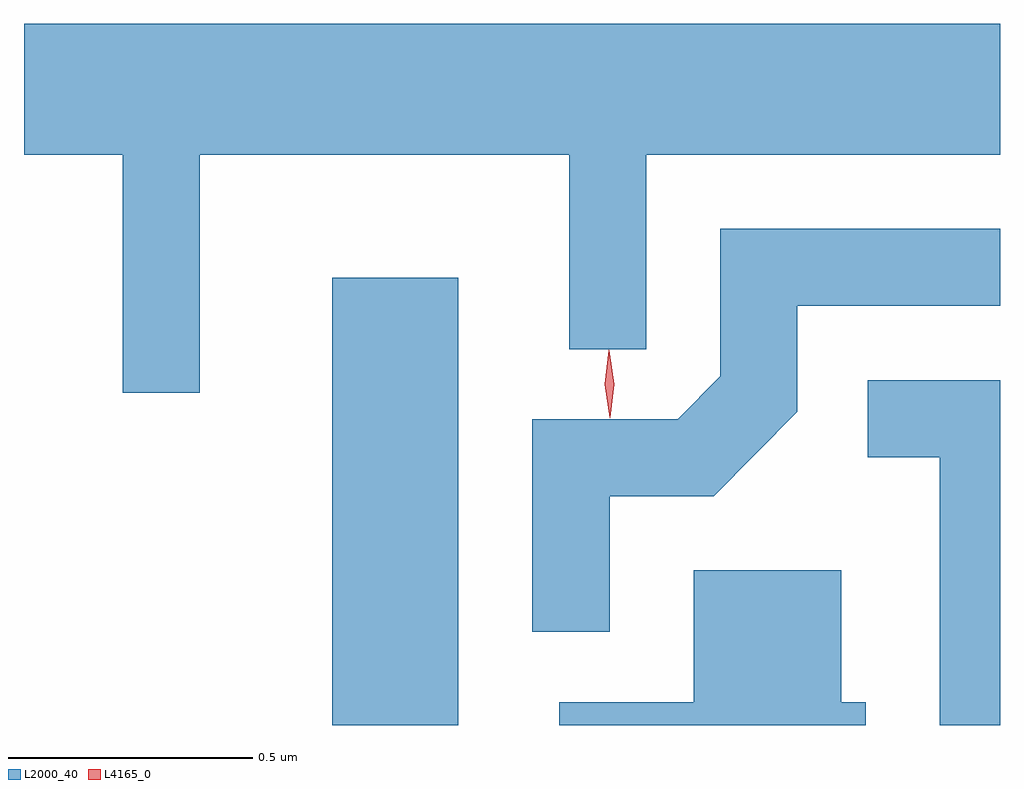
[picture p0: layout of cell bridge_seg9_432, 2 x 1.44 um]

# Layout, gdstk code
import gdstk
lib = gdstk.Library(unit=1e-6, precision=1e-09)
def R(c, l, rs):  # rectangles x0, y0, x1, y1
    for r in rs: c.add(gdstk.rectangle(r[:2], r[2:], *l))
def P(c, l, *ps):  # polygons
    for p in ps: c.add(gdstk.Polygon(p, *l))
L2000_40 = (2000, 40)
L4165_0 = (4165, 0)

bridge_seg9_432 = lib.new_cell('bridge_seg9_432')
R(bridge_seg9_432, L2000_40, [(527.516,2048.367,527.774,2049.284)])
P(bridge_seg9_432, L2000_40, [(527.244,2049.536),(528.001,2049.536),(528.001,2049.137),(528.159,2049.137),(528.159,2049.536),(528.884,2049.536),(528.884,2049.804),(526.884,2049.804),(526.884,2049.536),(527.086,2049.536),(527.086,2049.048),(527.244,2049.048)],
  [(528.084,2048.836),(528.297,2048.836),(528.469,2049.009),(528.469,2049.226),(528.884,2049.226),(528.884,2049.384),(528.311,2049.384),(528.311,2049.082),(528.224,2048.994),(527.926,2048.994),(527.926,2048.558),(528.084,2048.558)],
  [(528.884,2049.074),(528.613,2049.074),(528.613,2048.916),(528.761,2048.916),(528.761,2048.367),(528.884,2048.367)],
  [(528.609,2048.414),(528.559,2048.414),(528.559,2048.684),(528.256,2048.684),(528.256,2048.414),(527.981,2048.414),(527.981,2048.367),(528.609,2048.367)])
P(bridge_seg9_432, L4165_0, [(528.084,2048.997),(528.074,2049.066),(528.082,2049.135),(528.082,2049.136),(528.083,2049.135),(528.094,2049.066),(528.085,2048.997),(528.085,2048.997)],
  [(528.085,2048.999),(528.084,2049),(528.074,2049.066),(528.082,2049.132),(528.082,2049.132),(528.083,2049.132),(528.094,2049.066),(528.085,2049)])

lib.write_gds('bridge_seg9_432.gds')
